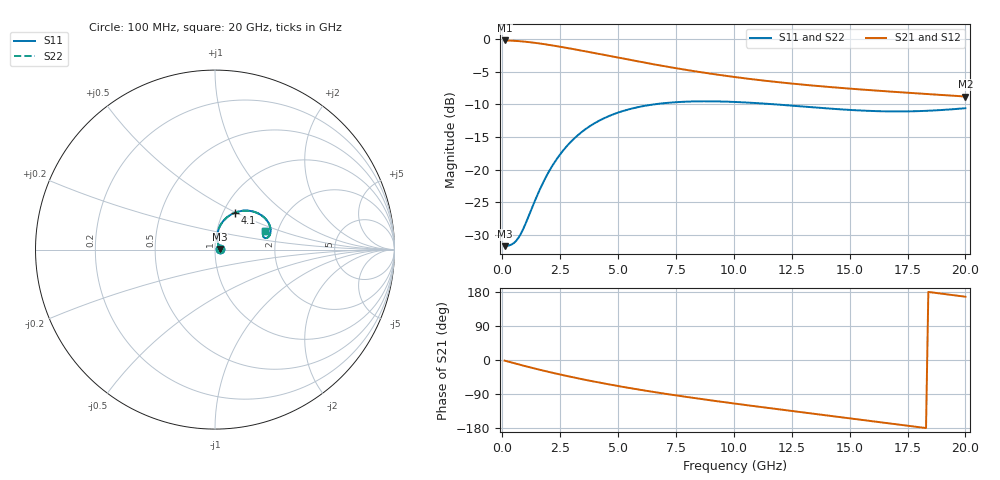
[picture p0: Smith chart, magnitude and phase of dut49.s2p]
! Created with skrf 1.9.0 (http://scikit-rf.org).
# GHz S RI R 50.0
!freq ReS11 ImS11 ReS21 ImS21 ReS12 ImS12 ReS22 ImS22
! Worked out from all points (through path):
!   200 points, 100 MHz to 20 GHz, reference 50 ohm
!   highest |S21| = -0.23 dB at 100 MHz (marker M1); lowest = -8.8 dB at 20 GHz (marker M2)
!   group delay of S21, straight-line fit = 25.1 ps
!   lowest |S11| = -31.7 dB at 100 MHz (marker M3), VSWR 1.05, Z = 52.6 + j0.307 ohm
!   |S11| at or under -10 dB: start of sweep to 6.586 GHz; 11.73 GHz to end of sweep
!   |S22| runs from -31.7 to -9.5 dB; largest |S21 - S12| = 2.1e-15
!   S11 on the Smith chart (normalised r, x): 100 MHz: 1.05, +0.01; 4.1 GHz: 1.13, +0.49; 20 GHz: 1.71, +0.38
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0.1  0.0258 0.00291  0.9735 -0.0284  0.9735 -0.0284  0.0258 0.00291
0.4  0.0241 0.0115  0.9639 -0.112  0.9639 -0.112  0.0241 0.0115
0.7  0.0208 0.0217  0.9436 -0.1924  0.9436 -0.1924  0.0208 0.0217
0.9  0.0182 0.0299  0.9248 -0.2431  0.9248 -0.2431  0.0182 0.0299
1.5  0.0124 0.0617  0.8488 -0.3783  0.8488 -0.3783  0.0124 0.0617
1.8  0.0128 0.081  0.8027 -0.4352  0.8027 -0.4352  0.0128 0.081
2.2  0.0182 0.1082  0.7362 -0.5  0.7362 -0.5  0.0182 0.1082
2.6  0.0296 0.1349  0.6663 -0.5526  0.6663 -0.5526  0.0296 0.1349
3  0.0462 0.1593  0.595 -0.5941  0.595 -0.5941  0.0462 0.1593
3.5  0.0728 0.1844  0.5063 -0.6317  0.5063 -0.6317  0.0728 0.1844
4.1  0.1093 0.2051  0.4036 -0.6589  0.4036 -0.6589  0.1093 0.2051
4.7  0.1472 0.2155  0.3072 -0.67  0.3072 -0.67  0.1472 0.2155
5.3  0.1831 0.2169  0.2186 -0.6682  0.2186 -0.6682  0.1831 0.2169
6.8  0.254 0.1942  0.0341 -0.6267  0.0341 -0.6267  0.254 0.1942
8.4  0.2957 0.1528  -0.1104 -0.5517  -0.1104 -0.5517  0.2957 0.1528
10.1  0.3098 0.111  -0.2193 -0.4598  -0.2193 -0.4598  0.3098 0.111
11.7  0.3055 0.0826  -0.2916 -0.3702  -0.2916 -0.3702  0.3055 0.0826
13.4  0.2924 0.0668  -0.3441 -0.2741  -0.3441 -0.2741  0.2924 0.0668
15  0.2789 0.0645  -0.374 -0.1836  -0.374 -0.1836  0.2789 0.0645
16.7  0.2692 0.0728  -0.3861 -0.0886  -0.3861 -0.0886  0.2692 0.0728
18.3  0.268 0.0866  -0.3792 -0.00244  -0.3792 -0.00244  0.268 0.0866
20  0.2768 0.1023  -0.3532 0.0818  -0.3532 0.0818  0.2768 0.1023
